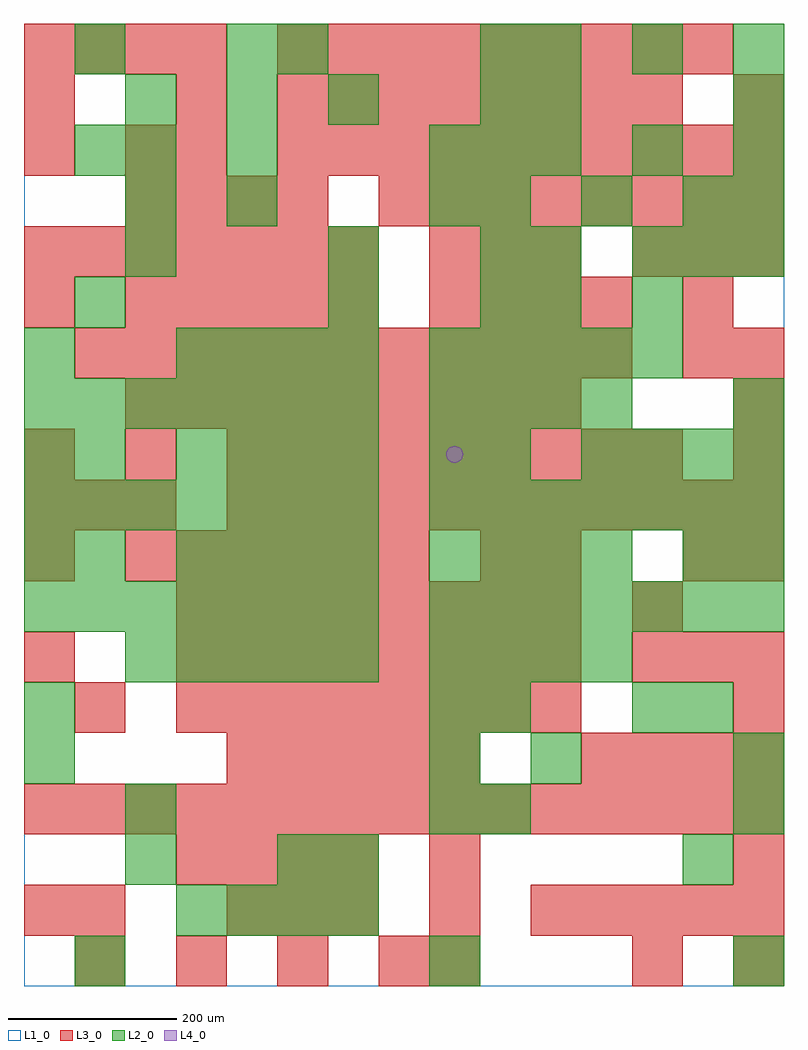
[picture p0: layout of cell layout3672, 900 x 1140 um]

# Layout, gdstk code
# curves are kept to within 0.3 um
import gdstk
lib = gdstk.Library(unit=1e-6, precision=1e-09)
def R(c, l, rs):  # rectangles x0, y0, x1, y1
    for r in rs: c.add(gdstk.rectangle(r[:2], r[2:], *l))
def A(c, l, x, y, w, h, nx, ny, dx, dy):  # array of equal rectangles
    R(c, l, [(x+i*dx, y+j*dy, x+i*dx+w, y+j*dy+h) for i in range(nx) for j in range(ny)])
def P(c, l, *ps):  # polygons
    for p in ps: c.add(gdstk.Polygon(p, *l))
L1_0 = (1, 0)
L2_0 = (2, 0)
L3_0 = (3, 0)
L4_0 = (4, 0)

layout3672 = lib.new_cell('layout3672')
R(layout3672, L1_0, [(0,0,900,1140)])
A(layout3672, L2_0, 180, 60, 60, 60, 4, 2, 60, 420)
A(layout3672, L2_0, 780, 120, 60, 60, 1, 3, 0, 180)
A(layout3672, L2_0, 480, 180, 60, 60, 1, 3, 0, 60)
A(layout3672, L2_0, 120, 360, 60, 60, 5, 1, 60, 0)
A(layout3672, L2_0, 480, 360, 60, 60, 4, 2, 60, 120)
A(layout3672, L2_0, 0, 420, 60, 60, 7, 3, 60, 120)
A(layout3672, L2_0, 480, 420, 60, 60, 7, 2, 60, 120)
A(layout3672, L2_0, 0, 480, 60, 60, 1, 3, 0, 120)
A(layout3672, L2_0, 60, 600, 60, 60, 1, 3, 0, 180)
A(layout3672, L2_0, 180, 600, 60, 60, 4, 2, 60, 120)
A(layout3672, L2_0, 660, 600, 60, 60, 4, 1, 60, 0)
A(layout3672, L2_0, 480, 660, 60, 60, 4, 1, 60, 0)
A(layout3672, L2_0, 480, 720, 60, 60, 5, 1, 60, 0)
A(layout3672, L2_0, 120, 840, 60, 60, 1, 3, 0, 60)
A(layout3672, L2_0, 720, 840, 60, 60, 3, 1, 60, 0)
A(layout3672, L2_0, 540, 900, 60, 60, 3, 1, 120, 0)
A(layout3672, L2_0, 840, 900, 60, 60, 1, 3, 0, 60)
A(layout3672, L2_0, 480, 960, 60, 60, 3, 1, 60, 0)
A(layout3672, L2_0, 120, 1020, 60, 60, 3, 1, 120, 0)
A(layout3672, L2_0, 600, 1080, 60, 60, 3, 1, 120, 0)
R(layout3672, L2_0, [(60,0,120,60), (480,0,540,60), (840,0,900,60), (120,120,180,180), (300,120,360,180), (360,120,420,180), (120,180,180,240), (540,180,600,240), (840,180,900,240), (0,240,60,300), (600,240,660,300), (840,240,900,300), (0,300,60,360), (540,300,600,360), (720,300,780,360), (60,480,120,540), (840,480,900,540), (480,600,540,660), (540,600,600,660), (840,660,900,720), (360,780,420,840), (540,780,600,840), (600,780,660,840), (720,780,780,840), (360,840,420,900), (540,840,600,900), (600,840,660,900), (240,900,300,960), (480,900,540,960), (240,960,300,1020), (720,960,780,1020), (540,1020,600,1080), (600,1020,660,1080), (60,1080,120,1140), (240,1080,300,1140), (300,1080,360,1140), (540,1080,600,1140)])
A(layout3672, L3_0, 60, 0, 60, 60, 4, 1, 120, 0)
A(layout3672, L3_0, 480, 0, 60, 60, 1, 3, 0, 60)
A(layout3672, L3_0, 240, 60, 60, 60, 3, 1, 60, 0)
A(layout3672, L3_0, 600, 60, 60, 60, 5, 1, 60, 0)
A(layout3672, L3_0, 180, 120, 60, 60, 4, 1, 60, 0)
A(layout3672, L3_0, 840, 120, 60, 60, 1, 3, 0, 180)
A(layout3672, L3_0, 0, 180, 60, 60, 15, 1, 60, 0)
A(layout3672, L3_0, 240, 240, 60, 60, 5, 1, 60, 0)
A(layout3672, L3_0, 660, 240, 60, 60, 4, 1, 60, 0)
A(layout3672, L3_0, 180, 300, 60, 60, 8, 3, 60, 60)
A(layout3672, L3_0, 720, 360, 60, 60, 3, 2, 60, 480)
A(layout3672, L3_0, 120, 480, 60, 60, 6, 1, 60, 0)
A(layout3672, L3_0, 0, 540, 60, 60, 3, 1, 60, 0)
A(layout3672, L3_0, 240, 540, 60, 60, 11, 1, 60, 0)
A(layout3672, L3_0, 0, 600, 60, 60, 3, 1, 120, 0)
A(layout3672, L3_0, 300, 600, 60, 60, 8, 2, 60, 420)
A(layout3672, L3_0, 840, 600, 60, 60, 1, 3, 0, 60)
A(layout3672, L3_0, 120, 660, 60, 60, 9, 1, 60, 0)
A(layout3672, L3_0, 60, 720, 60, 60, 11, 1, 60, 0)
A(layout3672, L3_0, 120, 780, 60, 60, 5, 1, 60, 0)
A(layout3672, L3_0, 480, 780, 60, 60, 4, 1, 60, 0)
A(layout3672, L3_0, 0, 840, 60, 60, 7, 1, 60, 0)
A(layout3672, L3_0, 480, 840, 60, 60, 3, 1, 60, 0)
A(layout3672, L3_0, 120, 900, 60, 60, 4, 1, 60, 0)
A(layout3672, L3_0, 420, 900, 60, 60, 8, 1, 60, 0)
A(layout3672, L3_0, 300, 960, 60, 60, 10, 1, 60, 0)
A(layout3672, L3_0, 0, 1080, 60, 60, 4, 1, 60, 0)
A(layout3672, L3_0, 300, 1080, 60, 60, 9, 1, 60, 0)
R(layout3672, L3_0, [(720,0,780,60), (840,0,900,60), (0,60,60,120), (60,60,120,120), (60,300,120,360), (0,360,60,420), (720,420,780,480), (0,480,60,540), (540,480,600,540), (600,480,660,540), (780,480,840,540), (780,720,840,780), (0,780,60,840), (780,780,840,840), (0,960,60,1020), (120,960,180,1020), (180,960,240,1020), (0,1020,60,1080), (180,1020,240,1080), (840,1020,900,1080)])
P(layout3672, L4_0, [(520,630),(519.239,633.827),(517.071,637.071),(513.827,639.239),(510,640),(506.173,639.239),(502.929,637.071),(500.761,633.827),(500,630),(500.761,626.173),(502.929,622.929),(506.173,620.761),(510,620),(513.827,620.761),(517.071,622.929),(519.239,626.173)])

lib.write_gds('layout3672.gds')
